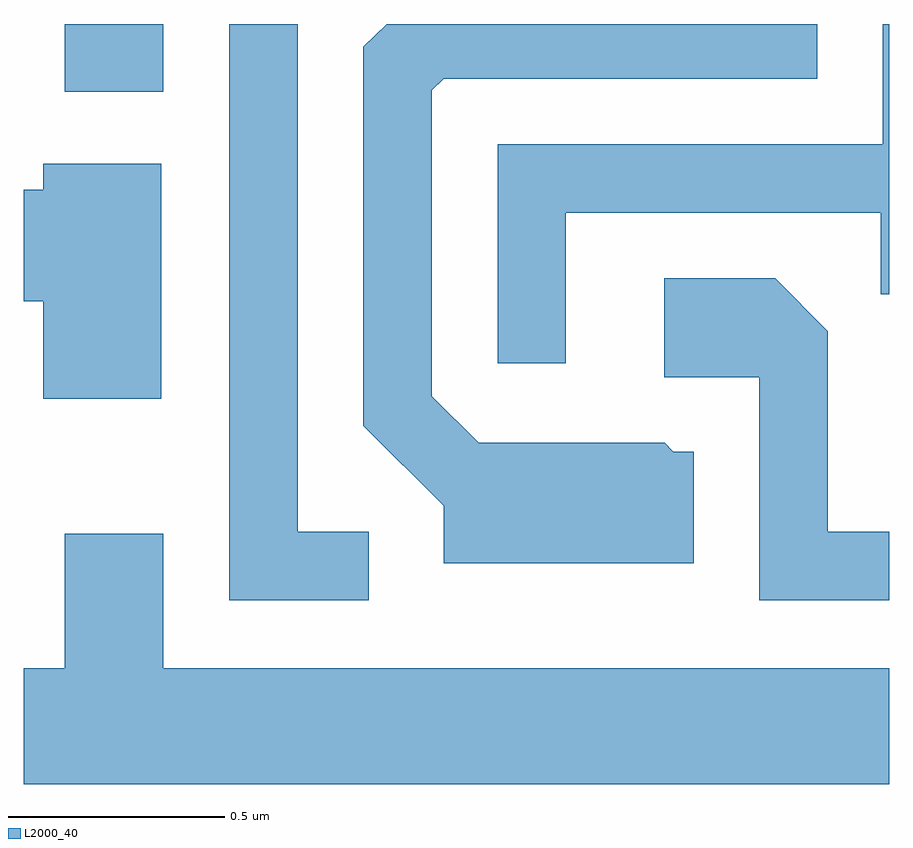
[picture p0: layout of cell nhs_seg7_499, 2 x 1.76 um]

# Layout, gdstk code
import gdstk
lib = gdstk.Library(unit=1e-6, precision=1e-09)
def R(c, l, rs):  # rectangles x0, y0, x1, y1
    for r in rs: c.add(gdstk.rectangle(r[:2], r[2:], *l))
def P(c, l, *ps):  # polygons
    for p in ps: c.add(gdstk.Polygon(p, *l))
L2000_40 = (2000, 40)

nhs_seg7_499 = lib.new_cell('nhs_seg7_499')
R(nhs_seg7_499, L2000_40, [(188.706,1758.096,188.934,1758.252)])
P(nhs_seg7_499, L2000_40, [(189.408,1757.079),(189.244,1757.079),(189.244,1758.252),(189.086,1758.252),(189.086,1756.921),(189.408,1756.921)],
  [(190.159,1757.264),(190.112,1757.264),(190.092,1757.284),(189.662,1757.284),(189.554,1757.392),(189.554,1758.099),(189.582,1758.126),(190.444,1758.126),(190.444,1758.252),(189.45,1758.252),(189.396,1758.199),(189.396,1757.324),(189.581,1757.139),(189.581,1757.006),(190.159,1757.006)],
  [(189.864,1757.816),(190.591,1757.816),(190.591,1757.628),(190.611,1757.628),(190.611,1758.252),(190.596,1758.252),(190.596,1757.974),(189.706,1757.974),(189.706,1757.468),(189.864,1757.468)],
  [(188.929,1757.929),(188.656,1757.929),(188.656,1757.869),(188.611,1757.869),(188.611,1757.611),(188.656,1757.611),(188.656,1757.386),(188.929,1757.386)],
  [(190.611,1757.079),(190.469,1757.079),(190.469,1757.542),(190.347,1757.664),(190.091,1757.664),(190.091,1757.436),(190.311,1757.436),(190.311,1756.921),(190.611,1756.921)],
  [(190.611,1756.764),(188.934,1756.764),(188.934,1757.074),(188.706,1757.074),(188.706,1756.764),(188.611,1756.764),(188.611,1756.496),(190.611,1756.496)])

lib.write_gds('nhs_seg7_499.gds')
